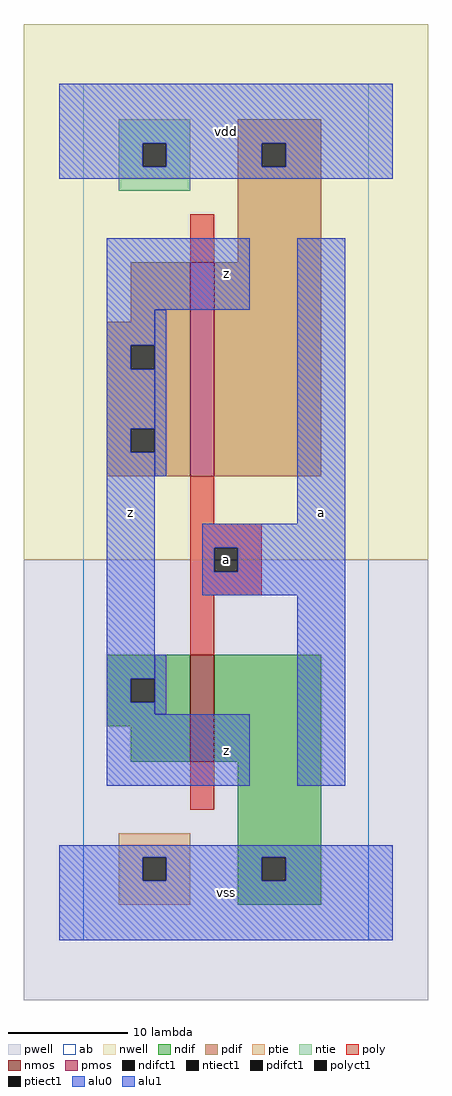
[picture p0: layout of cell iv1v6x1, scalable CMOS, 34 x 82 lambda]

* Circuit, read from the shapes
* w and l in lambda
.subckt iv1v6x1 a vdd vss z
M1 vss a z vss nfet w=9 l=2
M2 vdd a z vdd pfet w=18 l=2
.ends

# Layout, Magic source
magic
tech scmos
<< ab >>
rect 0 0 24 72
<< nwell >>
rect -5 32 29 77
<< pwell >>
rect -5 -5 29 32
<< poly >>
rect 9 57 11 61
rect 9 35 11 39
rect 9 33 15 35
rect 9 31 11 33
rect 13 31 15 33
rect 9 29 15 31
rect 9 24 11 29
rect 9 11 11 15
<< ndif >>
rect 2 22 9 24
rect 2 20 4 22
rect 6 20 9 22
rect 2 18 9 20
rect 4 15 9 18
rect 11 15 20 24
rect 13 7 20 15
rect 13 5 15 7
rect 17 5 20 7
rect 13 3 20 5
<< pdif >>
rect 13 67 20 69
rect 13 65 15 67
rect 17 65 20 67
rect 13 57 20 65
rect 4 52 9 57
rect 2 50 9 52
rect 2 48 4 50
rect 6 48 9 50
rect 2 43 9 48
rect 2 41 4 43
rect 6 41 9 43
rect 2 39 9 41
rect 11 39 20 57
<< alu1 >>
rect -2 67 26 72
rect -2 65 5 67
rect 7 65 15 67
rect 17 65 26 67
rect -2 64 26 65
rect 2 53 14 59
rect 2 50 6 53
rect 2 48 4 50
rect 2 43 6 48
rect 2 41 4 43
rect 2 22 6 41
rect 18 35 22 59
rect 10 33 22 35
rect 10 31 11 33
rect 13 31 22 33
rect 10 29 22 31
rect 2 20 4 22
rect 2 19 6 20
rect 2 13 14 19
rect 18 13 22 29
rect -2 7 26 8
rect -2 5 5 7
rect 7 5 15 7
rect 17 5 26 7
rect -2 0 26 5
<< ptie >>
rect 3 7 9 9
rect 3 5 5 7
rect 7 5 9 7
rect 3 3 9 5
<< ntie >>
rect 3 67 9 69
rect 3 65 5 67
rect 7 65 9 67
rect 3 63 9 65
<< nmos >>
rect 9 15 11 24
<< pmos >>
rect 9 39 11 57
<< polyct1 >>
rect 11 31 13 33
<< ndifct1 >>
rect 4 20 6 22
rect 15 5 17 7
<< ntiect1 >>
rect 5 65 7 67
<< ptiect1 >>
rect 5 5 7 7
<< pdifct1 >>
rect 15 65 17 67
rect 4 48 6 50
rect 4 41 6 43
<< alu0 >>
rect 6 39 7 53
rect 6 19 7 24
<< labels >>
rlabel alu1 4 36 4 36 6 z
rlabel alu1 12 4 12 4 6 vss
rlabel alu1 12 16 12 16 6 z
rlabel polyct1 12 32 12 32 6 a
rlabel alu1 12 56 12 56 6 z
rlabel alu1 12 68 12 68 6 vdd
rlabel alu1 20 36 20 36 6 a
<< end >>
